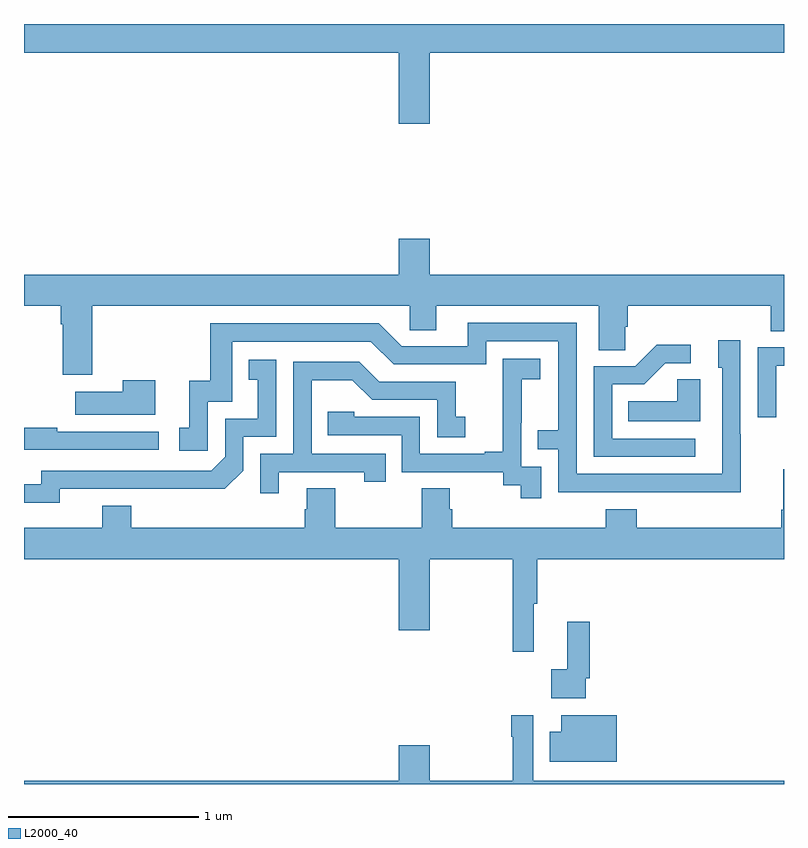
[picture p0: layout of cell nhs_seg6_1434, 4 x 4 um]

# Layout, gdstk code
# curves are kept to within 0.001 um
import gdstk
lib = gdstk.Library(unit=1e-6, precision=1e-09)
def P(c, l, *ps):  # polygons
    for p in ps: c.add(gdstk.Polygon(p, *l))
L2000_40 = (2000, 40)

nhs_seg6_1434 = lib.new_cell('nhs_seg6_1434')
P(nhs_seg6_1434, L2000_40, [(201.136,935.348),(203,935.348),(203,935.5),(199,935.5),(199,935.348),(200.972,935.348),(200.972,934.974),(201.136,934.974)],
  [(199.358,934.016),(201.03,934.016),(201.03,933.889),(201.169,933.889),(201.169,934.016),(202.025,934.016),(202.025,933.784),(202.164,933.784),(202.164,933.907),(202.178,933.907),(202.178,934.016),(202.931,934.016),(202.931,933.883),(203,933.883),(203,934.18),(201.136,934.18),(201.136,934.369),(200.972,934.369),(200.972,934.18),(199,934.18),(199,934.016),(199.193,934.016),(199.193,933.92),(199.205,933.92),(199.205,933.654),(199.358,933.654)],
  [(202.773,933.341),(202.77,933.341),(202.77,933.835),(202.655,933.835),(202.655,933.69),(202.674,933.69),(202.674,933.132),(201.909,933.132),(201.909,933.927),(201.335,933.927),(201.335,933.804),(200.988,933.804),(200.868,933.924),(199.981,933.924),(199.981,933.622),(199.871,933.622),(199.871,933.375),(199.818,933.375),(199.818,933.255),(199.968,933.255),(199.968,933.513),(200.097,933.513),(200.097,933.828),(200.826,933.828),(200.946,933.708),(201.432,933.708),(201.432,933.831),(201.813,933.831),(201.813,933.362),(201.703,933.362),(201.703,933.261),(201.813,933.261),(201.813,933.036),(202.773,933.035)],
  [(202.534,933.318),(202.095,933.318),(202.095,933.603),(202.264,933.603),(202.375,933.714),(202.51,933.714),(202.51,933.812),(202.331,933.812),(202.218,933.699),(201.999,933.699),(201.999,933.222),(202.534,933.222)],
  [(202.959,933.702),(203,933.702),(203,933.798),(202.863,933.798),(202.863,933.429),(202.959,933.429)],
  [(201.723,933.171),(201.618,933.171),(201.618,933.401),(201.62,933.401),(201.62,933.629),(201.718,933.629),(201.718,933.739),(201.52,933.739),(201.52,933.533),(201.521,933.533),(201.521,933.25),(201.425,933.25),(201.425,933.237),(201.084,933.237),(201.084,933.432),(200.739,933.432),(200.739,933.459),(200.599,933.459),(200.599,933.336),(200.988,933.336),(200.988,933.141),(201.522,933.141),(201.522,933.073),(201.615,933.073),(201.615,933.003),(201.723,933.003)],
  [(199.188,933.054),(200.056,933.053),(200.154,933.15),(200.154,933.327),(200.328,933.327),(200.328,933.733),(200.182,933.733),(200.182,933.627),(200.231,933.627),(200.231,933.423),(200.058,933.423),(200.058,933.222),(199.986,933.15),(199.092,933.15),(199.092,933.078),(199,933.078),(199,932.981),(199.188,932.981)],
  [(200.341,933.141),(200.792,933.141),(200.792,933.09),(200.903,933.09),(200.903,933.237),(200.514,933.237),(200.514,933.626),(200.728,933.626),(200.832,933.522),(201.174,933.522),(201.174,933.324),(201.322,933.324),(201.322,933.433),(201.273,933.433),(201.273,933.618),(200.869,933.618),(200.764,933.723),(200.418,933.723),(200.418,933.237),(200.244,933.237),(200.244,933.03),(200.341,933.03)],
  [(202.558,933.629),(202.437,933.629),(202.437,933.514),(202.18,933.514),(202.18,933.41),(202.558,933.41)],
  [(199.69,933.625),(199.52,933.625),(199.52,933.565),(199.271,933.565),(199.271,933.443),(199.69,933.443)],
  [(199.708,933.354),(199.175,933.354),(199.175,933.374),(199,933.374),(199,933.258),(199.708,933.258)],
  [(203,933.157),(202.997,933.157),(202.997,932.944),(202.985,932.944),(202.985,932.848),(202.226,932.848),(202.226,932.947),(202.061,932.947),(202.061,932.848),(201.254,932.848),(201.254,932.946),(201.241,932.946),(201.241,933.056),(201.094,933.056),(201.094,932.848),(200.637,932.848),(200.637,933.056),(200.489,933.056),(200.489,932.946),(200.477,932.946),(200.477,932.848),(199.565,932.848),(199.565,932.965),(199.412,932.965),(199.412,932.848),(199,932.848),(199,932.684),(200.972,932.684),(200.972,932.31),(201.136,932.31),(201.136,932.684),(201.573,932.684),(201.573,932.196),(201.683,932.196),(201.683,932.448),(201.701,932.448),(201.701,932.684),(203,932.684)],
  [(201.957,932.056),(201.977,932.056),(201.977,932.353),(201.86,932.353),(201.86,932.105),(201.774,932.105),(201.774,931.952),(201.957,931.952)],
  [(202.12,931.861),(201.827,931.861),(201.827,931.774),(201.766,931.774),(201.766,931.616),(202.12,931.616)],
  [(203,931.516),(201.681,931.516),(201.681,931.861),(201.565,931.861),(201.565,931.748),(201.573,931.748),(201.573,931.516),(201.136,931.516),(201.136,931.705),(200.972,931.705),(200.972,931.516),(199,931.516),(199,931.5),(203,931.5)])

lib.write_gds('nhs_seg6_1434.gds')
